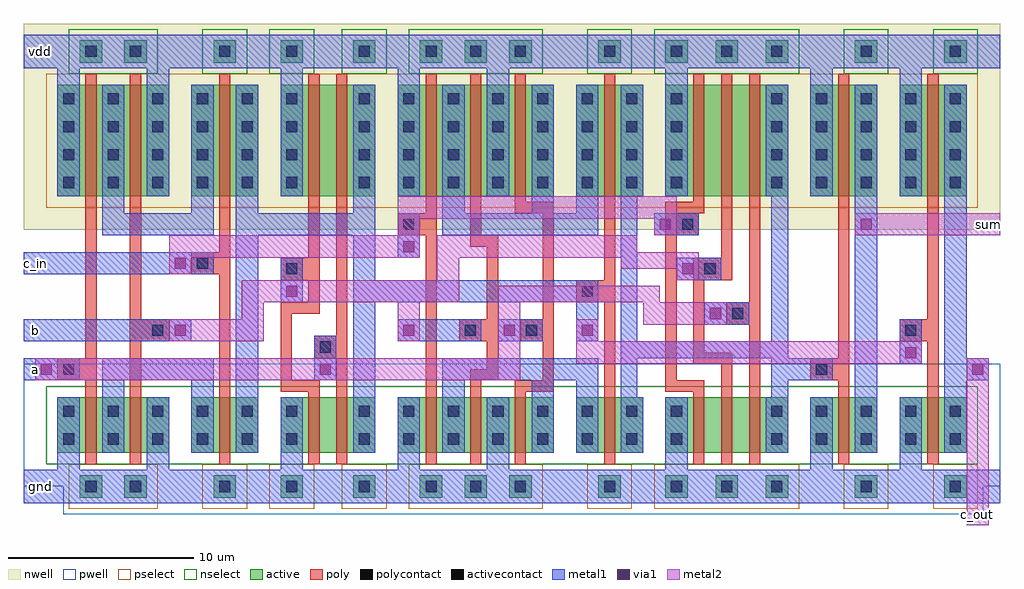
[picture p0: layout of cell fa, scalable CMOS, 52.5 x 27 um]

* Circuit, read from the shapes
.subckt fa a b c_in c_out gnd sum vdd
M1 n1 a gnd gnd nfet w=3u l=0.6u
M2 gnd b n1 gnd nfet w=3u l=0.6u
M3 n2 c_in n1 gnd nfet w=3u l=0.6u
M4 n3 b gnd gnd nfet w=3u l=0.6u
M5 n2 a n3 gnd nfet w=3u l=0.6u
M6 n4 c_in gnd gnd nfet w=3u l=0.6u
M7 gnd b n4 gnd nfet w=3u l=0.6u
M8 n4 a gnd gnd nfet w=3u l=0.6u
M9 n5 n2 n4 gnd nfet w=3u l=0.6u
M10 n6 c_in gnd gnd nfet w=3u l=0.6u
M11 n7 b n6 gnd nfet w=3u l=0.6u
M12 n5 a n7 gnd nfet w=3u l=0.6u
M13 sum n5 gnd gnd nfet w=3u l=0.6u
M14 c_out n2 gnd gnd nfet w=3u l=0.6u
M15 n8 a vdd vdd pfet w=6u l=0.6u
M16 vdd b n8 vdd pfet w=6u l=0.6u
M17 n2 c_in n8 vdd pfet w=6u l=0.6u
M18 n9 b vdd vdd pfet w=6u l=0.6u
M19 n2 a n9 vdd pfet w=6u l=0.6u
M20 n10 c_in vdd vdd pfet w=6u l=0.6u
M21 vdd b n10 vdd pfet w=6u l=0.6u
M22 n10 a vdd vdd pfet w=6u l=0.6u
M23 n5 n2 n10 vdd pfet w=6u l=0.6u
M24 n11 c_in vdd vdd pfet w=6u l=0.6u
M25 n12 b n11 vdd pfet w=6u l=0.6u
M26 n5 a n12 vdd pfet w=6u l=0.6u
M27 sum n5 vdd vdd pfet w=6u l=0.6u
M28 c_out n2 vdd vdd pfet w=6u l=0.6u
.ends

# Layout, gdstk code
import gdstk
lib = gdstk.Library(unit=1e-6, precision=1e-09)
def R(c, l, rs):  # rectangles x0, y0, x1, y1
    for r in rs: c.add(gdstk.rectangle(r[:2], r[2:], *l))
def A(c, l, x, y, w, h, nx, ny, dx, dy):  # array of equal rectangles
    R(c, l, [(x+i*dx, y+j*dy, x+i*dx+w, y+j*dy+h) for i in range(nx) for j in range(ny)])
pwell = (41, 0)
nwell = (42, 0)
active = (43, 0)
pselect = (44, 0)
nselect = (45, 0)
poly = (46, 0)
polycontact = (47, 0)
activecontact = (48, 0)
metal1 = (49, 0)
via1 = (50, 0)
metal2 = (51, 0)

c_fa = lib.new_cell('fa')
R(c_fa, pwell, [(2.1,-0.6,51.6,0.9), (0,0.9,52.5,7.5)])
R(c_fa, nwell, [(0,14.7,52.5,25.8)])
A(c_fa, active, 21.3, 0.3, 1.2, 1.2, 3, 2, 2.4, 23.4)
A(c_fa, active, 34.5, 0.3, 1.2, 1.2, 3, 2, 2.7, 23.4)
R(c_fa, active, [(3,0.3,4.2,1.5), (5.4,0.3,6.6,1.5), (10.2,0.3,11.4,1.5), (13.8,0.3,15,1.5), (17.7,0.3,18.9,1.5), (30.9,0.3,32.1,1.5), (44.7,0.3,45.9,1.5), (49.5,0.3,50.7,1.5), (1.8,2.7,7.8,5.7), (9,2.7,12.6,5.7), (13.8,2.7,18.9,5.7), (20.1,2.7,28.5,5.7), (29.7,2.7,33.3,5.7), (34.5,2.7,41.1,5.7), (42.3,2.7,45.9,5.7), (47.1,2.7,50.7,5.7), (1.8,16.5,7.8,22.5), (9,16.5,12.6,22.5), (13.8,16.5,18.9,22.5), (20.1,16.5,28.5,22.5), (29.7,16.5,33.3,22.5), (34.5,16.5,41.1,22.5), (42.3,16.5,45.9,22.5), (47.1,16.5,50.7,22.5), (3,23.7,4.2,24.9), (5.4,23.7,6.6,24.9), (10.2,23.7,11.4,24.9), (13.8,23.7,15,24.9), (17.7,23.7,18.9,24.9), (30.9,23.7,32.1,24.9), (44.7,23.7,45.9,24.9), (49.5,23.7,50.7,24.9)])
R(c_fa, pselect, [(2.4,-0.3,7.2,2.1), (9.6,-0.3,12,2.1), (13.2,-0.3,15.6,2.1), (17.1,-0.3,19.5,2.1), (20.7,-0.3,27.9,2.1), (30.3,-0.3,32.7,2.1), (33.9,-0.3,41.7,2.1), (44.1,-0.3,46.5,2.1), (48.9,-0.3,51.3,2.1), (1.2,15.9,51.3,23.1)])
R(c_fa, nselect, [(1.2,2.1,51.3,6.3), (2.4,23.1,7.2,25.5), (9.6,23.1,12,25.5), (13.2,23.1,15.6,25.5), (17.1,23.1,19.5,25.5), (20.7,23.1,27.9,25.5), (30.3,23.1,32.7,25.5), (33.9,23.1,41.7,25.5), (44.1,23.1,46.5,25.5), (48.9,23.1,51.3,25.5)])
R(c_fa, poly, [(3.3,2.1,3.9,6.6), (5.7,2.1,6.3,8.7), (10.5,2.1,11.1,12.3), (15.3,2.1,15.9,6), (16.8,2.1,17.4,7.8), (21.6,2.1,22.2,14.4), (24,2.1,24.6,6.6), (26.4,2.1,27,6), (31.2,2.1,31.8,10.8), (36,2.1,36.6,6), (37.5,2.1,38.1,7.5), (39,2.1,39.6,9.6), (43.8,2.1,44.4,6.6), (48.6,2.1,49.2,8.7), (13.8,6,15.9,6.6), (26.4,6,28.5,6.6), (34.5,6,36.6,6.6), (1.8,6.6,3.9,7.8), (13.8,6.6,14.4,10.2), (24,6.6,25.5,7.2), (27.9,6.6,28.5,8.7), (34.5,6.6,35.1,14.4), (42.3,6.6,44.4,7.8), (24.9,7.2,25.5,8.7), (36,7.5,38.1,8.1), (3.3,7.8,3.9,23.1), (15.6,7.8,17.4,9), (43.8,7.8,44.4,23.1), (36,8.1,36.6,12), (5.7,8.7,7.8,9.9), (23.4,8.7,25.5,9.9), (26.7,8.7,28.5,9.9), (47.1,8.7,49.2,9.9), (16.8,9,17.4,23.1), (37.8,9.6,39.6,10.8), (5.7,9.9,6.3,23.1), (24.9,9.9,25.5,13.8), (27.9,9.9,28.5,15.6), (48.6,9.9,49.2,23.1), (13.8,10.2,15.9,10.8), (15.3,10.8,15.9,12), (29.7,10.8,31.8,12), (39,10.8,39.6,23.1), (13.8,12,15.9,13.2), (31.2,12,31.8,23.1), (36,12,38.1,13.2), (9,12.3,11.1,13.5), (15.3,13.2,15.9,23.1), (37.5,13.2,38.1,23.1), (10.5,13.5,11.1,23.1), (24,13.8,25.5,14.4), (20.1,14.4,22.2,15.6), (24,14.4,24.6,23.1), (34.5,14.4,36.3,15.6), (21.6,15.6,22.2,23.1), (26.4,15.6,28.5,16.2), (34.5,15.6,36.6,16.2), (26.4,16.2,27,23.1), (36,16.2,36.6,23.1)])
R(c_fa, polycontact, [(2.1,6.9,2.7,7.5), (42.6,6.9,43.2,7.5), (15.9,8.1,16.5,8.7), (6.9,9,7.5,9.6), (23.7,9,24.3,9.6), (27,9,27.6,9.6), (47.4,9,48,9.6), (38.1,9.9,38.7,10.5), (30,11.1,30.6,11.7), (14.1,12.3,14.7,12.9), (36.6,12.3,37.2,12.9), (9.3,12.6,9.9,13.2), (20.4,14.7,21,15.3), (35.4,14.7,36,15.3)])
A(c_fa, activecontact, 21.6, 0.6, 0.6, 0.6, 3, 2, 2.4, 23.4)
A(c_fa, activecontact, 34.8, 0.6, 0.6, 0.6, 3, 2, 2.7, 23.4)
A(c_fa, activecontact, 2.1, 3.15, 0.6, 0.6, 6, 2, 2.4, 1.5)
A(c_fa, activecontact, 18, 3.15, 0.6, 0.6, 8, 2, 2.4, 1.5)
A(c_fa, activecontact, 40.2, 3.15, 0.6, 0.6, 5, 2, 2.4, 1.5)
A(c_fa, activecontact, 2.1, 16.95, 0.6, 0.6, 6, 4, 2.4, 1.5)
A(c_fa, activecontact, 18, 16.95, 0.6, 0.6, 8, 4, 2.4, 1.5)
A(c_fa, activecontact, 40.2, 16.95, 0.6, 0.6, 5, 4, 2.4, 1.5)
R(c_fa, activecontact, [(3.3,0.6,3.9,1.2), (5.7,0.6,6.3,1.2), (10.5,0.6,11.1,1.2), (14.1,0.6,14.7,1.2), (18,0.6,18.6,1.2), (31.2,0.6,31.8,1.2), (45,0.6,45.6,1.2), (49.8,0.6,50.4,1.2), (3.3,24,3.9,24.6), (5.7,24,6.3,24.6), (10.5,24,11.1,24.6), (14.1,24,14.7,24.6), (18,24,18.6,24.6), (31.2,24,31.8,24.6), (45,24,45.6,24.6), (49.8,24,50.4,24.6)])
A(c_fa, metal1, 17.7, 15.6, 1.2, 6.9, 3, 1, 4.8, 0)
R(c_fa, metal1, [(0,0,52.5,1.8), (1.8,1.8,3,5.7), (6.6,1.8,7.8,5.7), (13.8,1.8,15,5.7), (20.1,1.8,21.3,5.7), (24.9,1.8,26.1,5.7), (34.5,1.8,35.7,5.7), (42.3,1.8,43.5,5.7), (47.1,1.8,48.3,5.7), (4.2,2.7,5.4,6.6), (9,2.7,10.2,6.6), (11.4,2.7,12.6,14.4), (17.7,2.7,18.9,10.8), (22.5,2.7,23.7,6.6), (27.3,2.7,28.5,6.6), (29.7,2.7,30.9,6.6), (32.1,2.7,33.3,5.7), (39.9,2.7,41.1,5.7), (44.7,2.7,45.9,22.5), (49.5,2.7,50.7,6.6), (32.1,5.7,33,7.8), (40.2,5.7,41.1,6.6), (0,6.6,3,7.8), (4.2,6.6,10.2,7.8), (15.6,6.6,16.8,9), (22.5,6.6,30.9,7.8), (40.2,6.6,43.5,7.8), (49.5,6.6,51.9,7.8), (47.1,7.5,48.3,9.9), (32.1,7.8,41.1,8.7), (49.5,7.8,50.7,22.5), (0,8.7,9,9.9), (20.1,8.7,24.6,9.9), (25.5,8.7,27.9,9.9), (29.7,8.7,30.9,10.8), (32.1,8.7,33,16.5), (40.2,8.7,41.1,16.5), (36.6,9.6,39,10.8), (13.8,10.8,15,13.2), (17.7,10.8,30.9,12), (17.7,12,18.9,14.4), (35.1,12,37.5,13.2), (0,12.3,10.2,13.5), (20.1,13.2,21.3,15.6), (4.2,14.4,10.2,15.6), (11.4,14.4,18.9,15.6), (22.5,14.4,30.9,15.6), (33.9,14.4,36.3,15.6), (4.2,15.6,5.4,22.5), (9,15.6,10.2,22.5), (11.4,15.6,12.6,22.5), (29.7,15.6,30.9,22.5), (1.8,16.5,3,23.4), (6.6,16.5,7.8,23.4), (13.8,16.5,15,23.4), (20.1,16.5,21.3,23.4), (24.9,16.5,26.1,23.4), (32.1,16.5,33.3,22.5), (34.5,16.5,35.7,23.4), (39.9,16.5,41.1,22.5), (42.3,16.5,43.5,23.4), (47.1,16.5,48.3,23.4), (0,23.4,52.5,25.2)])
R(c_fa, via1, [(0.9,6.9,1.5,7.5), (15.9,6.9,16.5,7.5), (51,6.9,51.6,7.5), (47.4,7.8,48,8.4), (8.1,9,8.7,9.6), (20.4,9,21,9.6), (25.8,9,26.4,9.6), (30,9,30.6,9.6), (36.9,9.9,37.5,10.5), (14.1,11.1,14.7,11.7), (35.4,12.3,36,12.9), (8.1,12.6,8.7,13.2), (20.4,13.5,21,14.1), (34.2,14.7,34.8,15.3), (45,14.7,45.6,15.3)])
R(c_fa, metal2, [(50.7,-1.2,51.9,7.8), (0.6,6.6,26.7,7.8), (29.7,7.5,48.3,8.7), (25.5,7.8,26.7,10.8), (7.8,8.7,12.9,9.9), (20.1,8.7,21.3,10.8), (29.7,8.7,30.9,9.9), (33.3,9.6,37.8,10.8), (11.7,9.9,12.9,10.8), (11.7,10.8,23.4,12), (25.5,10.8,34.2,11.7), (22.2,12,23.4,13.2), (35.1,12,36.3,12.6), (7.8,12.3,9,13.2), (32.1,12.6,36.3,13.2), (7.8,13.2,21.3,14.4), (22.2,13.2,36.3,13.5), (22.2,13.5,33,14.4), (20.1,14.4,21.3,15.3), (33.9,14.4,35.1,15.3), (44.7,14.4,52.5,15.6), (20.1,15.3,35.1,16.5)])
c_fa.add(gdstk.Label('a', (0.6,7.2), layer=49, texttype=0))
c_fa.add(gdstk.Label('b', (0.6,9.3), layer=49, texttype=0))
c_fa.add(gdstk.Label('c_in', (0.6,12.9), layer=49, texttype=0))
c_fa.add(gdstk.Label('sum', (51.9,15), layer=51, texttype=0))
c_fa.add(gdstk.Label('c_out', (51.3,-0.6), layer=51, texttype=0))
c_fa.add(gdstk.Label('vdd', (0.9,24.3), layer=49, texttype=0))
c_fa.add(gdstk.Label('gnd', (0.9,0.9), layer=49, texttype=0))

lib.write_gds('fa.gds')
